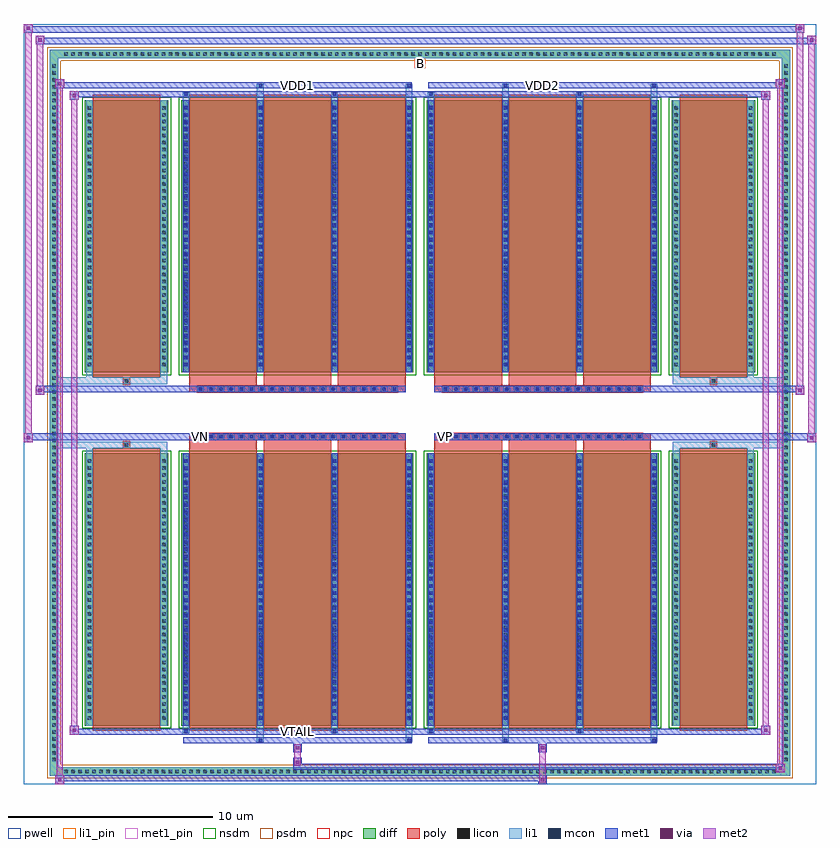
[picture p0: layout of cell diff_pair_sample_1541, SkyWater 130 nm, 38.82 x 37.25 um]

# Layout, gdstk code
import gdstk
lib = gdstk.Library(unit=1e-6, precision=5e-09)
def R(c, l, rs):  # rectangles x0, y0, x1, y1
    for r in rs: c.add(gdstk.rectangle(r[:2], r[2:], *l))
def A(c, l, x, y, w, h, nx, ny, dx, dy):  # array of equal rectangles
    R(c, l, [(x+i*dx, y+j*dy, x+i*dx+w, y+j*dy+h) for i in range(nx) for j in range(ny)])
def P(c, l, *ps):  # polygons
    for p in ps: c.add(gdstk.Polygon(p, *l))
pwell = (64, 44)
diff = (65, 20)
poly = (66, 20)
licon = (66, 44)
li1_pin = (67, 16)
li1 = (67, 20)
mcon = (67, 44)
met1_pin = (68, 16)
met1 = (68, 20)
via = (68, 44)
met2 = (69, 20)
nsdm = (93, 44)
psdm = (94, 20)
npc = (95, 20)

diff_pair_sample_1541 = lib.new_cell('diff_pair_sample_1541')
R(diff_pair_sample_1541, pwell, [(-19.41,-18.19,19.41,19.06), (-16.73,-16.38,-0.01,-0.8), (0.01,-16.38,16.73,-0.8), (-16.73,0.8,-0.01,16.38), (0.01,0.8,16.73,16.38)])
A(diff_pair_sample_1541, diff, -17.545, -17.79, 0.41, 0.41, 103, 2, 0.34, 35.17)
A(diff_pair_sample_1541, diff, -18.14, -17.205, 0.41, 0.41, 1, 101, 0, 0.34)
A(diff_pair_sample_1541, diff, 17.73, -17.205, 0.41, 0.41, 1, 101, 0, 0.34)
R(diff_pair_sample_1541, diff, [(-17.545,-17.79,17.545,-17.38), (-18.14,-17.205,-17.73,17.205), (17.73,-17.205,18.14,17.205), (-16.42,-15.335,-12.33,-1.985), (-11.69,-15.335,-0.32,-1.985), (0.32,-15.335,11.69,-1.985), (12.33,-15.335,16.42,-1.985), (-16.42,1.985,-12.33,15.335), (-11.69,1.985,-0.32,15.335), (0.32,1.985,11.69,15.335), (12.33,1.985,16.42,15.335), (-17.545,17.38,17.545,17.79)])
P(diff_pair_sample_1541, diff, [(18.14,17.79),(-18.14,17.79),(-18.14,-17.38),(-17.73,-17.38),(-17.73,17.38),(17.73,17.38),(17.73,-17.38),(-17.73,-17.38),(-18.14,-17.38),(-18.14,-17.79),(18.14,-17.79)])
A(diff_pair_sample_1541, poly, -11.3, -15.585, 3.31, 13.85, 3, 2, 3.64, 17.32)
A(diff_pair_sample_1541, poly, 0.71, -15.585, 3.31, 13.85, 3, 2, 3.64, 17.32)
A(diff_pair_sample_1541, poly, -11.3, -1.735, 3.31, 0.405, 3, 2, 3.64, 3.065)
A(diff_pair_sample_1541, poly, 0.71, -1.735, 3.31, 0.405, 3, 2, 3.64, 3.065)
A(diff_pair_sample_1541, poly, -10.92, -1.33, 0.33, 0.33, 20, 2, 0.5, 2.33)
A(diff_pair_sample_1541, poly, 1.09, -1.33, 0.33, 0.33, 20, 2, 0.5, 2.33)
R(diff_pair_sample_1541, poly, [(-16.03,-15.585,-12.72,-1.735), (12.72,-15.585,16.03,-1.735), (-14.54,-1.735,-14.21,-1.405), (-14.54,-1.735,-14.21,-1.405), (14.21,-1.735,14.54,-1.405), (14.21,-1.735,14.54,-1.405), (-11.3,-1.33,-0.71,-1), (0.71,-1.33,11.3,-1), (-11.3,1,-0.71,1.33), (0.71,1,11.3,1.33), (-14.54,1.405,-14.21,1.735), (-14.54,1.405,-14.21,1.735), (14.21,1.405,14.54,1.735), (14.21,1.405,14.54,1.735), (-16.03,1.735,-12.72,15.585), (12.72,1.735,16.03,15.585)])
A(diff_pair_sample_1541, licon, -17.425, -17.67, 0.17, 0.17, 103, 2, 0.34, 35.17)
A(diff_pair_sample_1541, licon, -18.02, -17.085, 0.17, 0.17, 1, 101, 0, 0.34)
A(diff_pair_sample_1541, licon, 17.85, -17.085, 0.17, 0.17, 1, 101, 0, 0.34)
A(diff_pair_sample_1541, licon, -16.28, -15.035, 0.17, 0.17, 1, 38, 0, 0.34)
A(diff_pair_sample_1541, licon, -12.64, -15.035, 0.17, 0.17, 1, 38, 0, 0.34)
A(diff_pair_sample_1541, licon, -11.55, -15.035, 0.17, 0.17, 4, 38, 3.64, 0.34)
A(diff_pair_sample_1541, licon, 0.46, -15.035, 0.17, 0.17, 4, 38, 3.64, 0.34)
A(diff_pair_sample_1541, licon, 12.47, -15.035, 0.17, 0.17, 1, 38, 0, 0.34)
A(diff_pair_sample_1541, licon, 16.11, -15.035, 0.17, 0.17, 1, 38, 0, 0.34)
A(diff_pair_sample_1541, licon, -10.84, -1.25, 0.17, 0.17, 20, 2, 0.5, 2.33)
A(diff_pair_sample_1541, licon, 1.17, -1.25, 0.17, 0.17, 20, 2, 0.5, 2.33)
A(diff_pair_sample_1541, licon, -16.28, 2.285, 0.17, 0.17, 1, 38, 0, 0.34)
A(diff_pair_sample_1541, licon, -12.64, 2.285, 0.17, 0.17, 1, 38, 0, 0.34)
A(diff_pair_sample_1541, licon, -11.55, 2.285, 0.17, 0.17, 4, 38, 3.64, 0.34)
A(diff_pair_sample_1541, licon, 0.46, 2.285, 0.17, 0.17, 4, 38, 3.64, 0.34)
A(diff_pair_sample_1541, licon, 12.47, 2.285, 0.17, 0.17, 1, 38, 0, 0.34)
A(diff_pair_sample_1541, licon, 16.11, 2.285, 0.17, 0.17, 1, 38, 0, 0.34)
R(diff_pair_sample_1541, licon, [(-14.46,-1.655,-14.29,-1.485), (14.29,-1.655,14.46,-1.485), (-14.46,1.485,-14.29,1.655), (14.29,1.485,14.46,1.655)])
R(diff_pair_sample_1541, li1_pin, [(-0.25,16.88,0.25,17.38)])
A(diff_pair_sample_1541, li1, -17.505, -17.75, 0.33, 0.33, 103, 2, 0.34, 35.17)
A(diff_pair_sample_1541, li1, -18.1, -17.165, 0.33, 0.33, 1, 101, 0, 0.34)
A(diff_pair_sample_1541, li1, 17.77, -17.165, 0.33, 0.33, 1, 101, 0, 0.34)
A(diff_pair_sample_1541, li1, -11.63, -15.335, 0.33, 13.35, 4, 2, 3.64, 17.32)
A(diff_pair_sample_1541, li1, 0.38, -15.335, 0.33, 13.35, 4, 2, 3.64, 17.32)
A(diff_pair_sample_1541, li1, -16.36, -15.115, 0.33, 0.33, 1, 38, 0, 0.34)
A(diff_pair_sample_1541, li1, -12.72, -15.115, 0.33, 0.33, 1, 38, 0, 0.34)
A(diff_pair_sample_1541, li1, -11.63, -15.115, 0.33, 0.33, 4, 38, 3.64, 0.34)
A(diff_pair_sample_1541, li1, 0.38, -15.115, 0.33, 0.33, 4, 38, 3.64, 0.34)
A(diff_pair_sample_1541, li1, 12.39, -15.115, 0.33, 0.33, 1, 38, 0, 0.34)
A(diff_pair_sample_1541, li1, 16.03, -15.115, 0.33, 0.33, 1, 38, 0, 0.34)
A(diff_pair_sample_1541, li1, -11.55, -15.045, 0.17, 0.17, 4, 36, 3.64, 0.36)
A(diff_pair_sample_1541, li1, -11.55, -15.045, 0.17, 12.77, 4, 2, 3.64, 17.32)
A(diff_pair_sample_1541, li1, 0.46, -15.045, 0.17, 0.17, 4, 36, 3.64, 0.36)
A(diff_pair_sample_1541, li1, 0.46, -15.045, 0.17, 12.77, 4, 2, 3.64, 17.32)
A(diff_pair_sample_1541, li1, -10.92, -1.33, 0.33, 0.33, 20, 2, 0.5, 2.33)
A(diff_pair_sample_1541, li1, 1.09, -1.33, 0.33, 0.33, 20, 2, 0.5, 2.33)
A(diff_pair_sample_1541, li1, -16.36, 2.205, 0.33, 0.33, 1, 38, 0, 0.34)
A(diff_pair_sample_1541, li1, -12.72, 2.205, 0.33, 0.33, 1, 38, 0, 0.34)
A(diff_pair_sample_1541, li1, -11.63, 2.205, 0.33, 0.33, 4, 38, 3.64, 0.34)
A(diff_pair_sample_1541, li1, 0.38, 2.205, 0.33, 0.33, 4, 38, 3.64, 0.34)
A(diff_pair_sample_1541, li1, 12.39, 2.205, 0.33, 0.33, 1, 38, 0, 0.34)
A(diff_pair_sample_1541, li1, 16.03, 2.205, 0.33, 0.33, 1, 38, 0, 0.34)
A(diff_pair_sample_1541, li1, -11.55, 2.275, 0.17, 0.17, 4, 36, 3.64, 0.36)
A(diff_pair_sample_1541, li1, 0.46, 2.275, 0.17, 0.17, 4, 36, 3.64, 0.36)
R(diff_pair_sample_1541, li1, [(-18.14,-17.79,-17.73,-17.38), (-18.14,-17.79,-17.73,-17.38), (-17.73,-17.79,17.73,-17.38), (17.73,-17.79,18.14,-17.38), (17.73,-17.79,18.14,-17.38), (-18.14,-17.38,-17.73,17.38), (17.73,-17.38,18.14,17.38), (-7.99,-16.14,-7.66,-15.335), (-7.91,-16.14,-7.74,-15.97), (-0.71,-16.14,-0.38,-15.335), (-0.63,-16.14,-0.46,-15.97), (4.02,-16.14,4.35,-15.335), (4.1,-16.14,4.27,-15.97), (11.3,-16.14,11.63,-15.335), (11.38,-16.14,11.55,-15.97), (-11.63,-15.71,-11.3,-15.335), (-11.55,-15.71,-11.38,-15.54), (-4.35,-15.71,-4.02,-15.335), (-4.27,-15.71,-4.1,-15.54), (0.38,-15.71,0.71,-15.335), (0.46,-15.71,0.63,-15.54), (7.66,-15.71,7.99,-15.335), (7.74,-15.71,7.91,-15.54), (-16.36,-15.335,-16.03,-1.985), (-12.72,-15.335,-12.39,-1.985), (12.39,-15.335,12.72,-1.985), (16.03,-15.335,16.36,-1.985), (-16.36,-1.985,-16.03,-1.405), (-12.72,-1.985,-12.39,-1.405), (12.39,-1.985,12.72,-1.405), (16.03,-1.985,16.36,-1.405), (-18.14,-1.735,-14.54,-1.405), (-16.36,-1.735,-14.54,-1.405), (-14.54,-1.735,-14.21,-1.405), (-14.21,-1.735,-12.39,-1.405), (12.39,-1.735,14.21,-1.405), (14.21,-1.735,14.54,-1.405), (14.21,-1.735,18.14,-1.405), (14.54,-1.735,16.36,-1.405), (-18.14,1.405,-14.54,1.735), (-16.36,1.405,-14.54,1.735), (-16.36,1.405,-16.03,1.985), (-14.54,1.405,-14.21,1.735), (-14.21,1.405,-12.39,1.735), (-12.72,1.405,-12.39,1.985), (12.39,1.405,14.21,1.735), (12.39,1.405,12.72,1.985), (14.21,1.405,14.54,1.735), (14.21,1.405,18.14,1.735), (14.54,1.405,16.36,1.735), (16.03,1.405,16.36,1.985), (-16.36,1.985,-16.03,15.335), (-12.72,1.985,-12.39,15.335), (12.39,1.985,12.72,15.335), (16.03,1.985,16.36,15.335), (-11.63,15.335,-11.3,15.71), (-7.99,15.335,-7.66,16.14), (-4.35,15.335,-4.02,15.71), (-0.71,15.335,-0.38,16.14), (0.38,15.335,0.71,15.71), (4.02,15.335,4.35,16.14), (7.66,15.335,7.99,15.71), (11.3,15.335,11.63,16.14), (-11.55,15.54,-11.38,15.71), (-4.27,15.54,-4.1,15.71), (0.46,15.54,0.63,15.71), (7.74,15.54,7.91,15.71), (-7.91,15.97,-7.74,16.14), (-0.63,15.97,-0.46,16.14), (4.1,15.97,4.27,16.14), (11.38,15.97,11.55,16.14), (-18.14,17.38,-17.73,17.79), (-18.14,17.38,-17.73,17.79), (-17.73,17.38,17.73,17.79), (17.73,17.38,18.14,17.79), (17.73,17.38,18.14,17.79)])
A(diff_pair_sample_1541, mcon, -11.55, -15.045, 0.17, 0.17, 4, 36, 3.64, 0.36)
A(diff_pair_sample_1541, mcon, 0.46, -15.045, 0.17, 0.17, 4, 36, 3.64, 0.36)
A(diff_pair_sample_1541, mcon, -10.84, -1.25, 0.17, 0.17, 20, 2, 0.5, 2.33)
A(diff_pair_sample_1541, mcon, 1.17, -1.25, 0.17, 0.17, 20, 2, 0.5, 2.33)
A(diff_pair_sample_1541, mcon, -11.55, 2.275, 0.17, 0.17, 4, 36, 3.64, 0.36)
A(diff_pair_sample_1541, mcon, 0.46, 2.275, 0.17, 0.17, 4, 36, 3.64, 0.36)
R(diff_pair_sample_1541, mcon, [(-7.91,-16.14,-7.74,-15.97), (-0.63,-16.14,-0.46,-15.97), (4.1,-16.14,4.27,-15.97), (11.38,-16.14,11.55,-15.97), (-11.55,-15.71,-11.38,-15.54), (-4.27,-15.71,-4.1,-15.54), (0.46,-15.71,0.63,-15.54), (7.74,-15.71,7.91,-15.54), (-11.55,15.54,-11.38,15.71), (-4.27,15.54,-4.1,15.71), (0.46,15.54,0.63,15.71), (7.74,15.54,7.91,15.71), (-7.91,15.97,-7.74,16.14), (-0.63,15.97,-0.46,16.14), (4.1,15.97,4.27,16.14), (11.38,15.97,11.55,16.14)])
R(diff_pair_sample_1541, met1_pin, [(-6.14,-15.75,-5.87,-15.48), (-10.89,-1.29,-10.62,-1.02), (1.12,-1.29,1.39,-1.02), (-6.14,15.93,-5.87,16.2), (5.87,15.93,6.14,16.2)])
A(diff_pair_sample_1541, met1, -11.61, -15.335, 0.29, 13.35, 4, 2, 3.64, 17.32)
A(diff_pair_sample_1541, met1, 0.4, -15.335, 0.29, 13.35, 4, 2, 3.64, 17.32)
A(diff_pair_sample_1541, met1, -11.61, -15.105, 0.29, 0.29, 4, 36, 3.64, 0.36)
A(diff_pair_sample_1541, met1, 0.4, -15.105, 0.29, 0.29, 4, 36, 3.64, 0.36)
A(diff_pair_sample_1541, met1, -10.9, -1.31, 0.29, 0.29, 20, 2, 0.5, 2.33)
A(diff_pair_sample_1541, met1, 1.11, -1.31, 0.29, 0.29, 20, 2, 0.5, 2.33)
A(diff_pair_sample_1541, met1, -11.61, 2.215, 0.29, 0.29, 4, 36, 3.64, 0.36)
A(diff_pair_sample_1541, met1, 0.4, 2.215, 0.29, 0.29, 4, 36, 3.64, 0.36)
R(diff_pair_sample_1541, met1, [(-17.87,-18.19,-17.44,-17.76), (5.79,-18.19,6.22,-17.76), (-17.87,-18.05,6.22,-17.76), (17.44,-17.62,17.87,-17.19), (-6.22,-17.48,17.87,-17.19), (-6.22,-17.34,-5.79,-16.91), (-6.22,-16.63,-5.79,-16.2), (5.79,-16.63,6.22,-16.2), (-11.61,-16.2,-0.4,-15.91), (-7.97,-16.2,-7.68,-15.91), (-0.69,-16.2,-0.4,-15.91), (0.4,-16.2,11.61,-15.91), (4.04,-16.2,4.33,-15.91), (11.32,-16.2,11.61,-15.91), (-17.16,-15.77,-16.73,-15.34), (-17.16,-15.77,-11.61,-15.48), (-11.61,-15.77,-11.32,-15.48), (-11.61,-15.77,-0.4,-15.48), (-4.33,-15.77,-4.04,-15.48), (-0.4,-15.77,0.4,-15.48), (0.4,-15.77,0.69,-15.48), (0.4,-15.77,11.61,-15.48), (7.68,-15.77,7.97,-15.48), (11.61,-15.77,17.16,-15.48), (16.73,-15.77,17.16,-15.34), (-19.41,-1.43,-18.98,-1), (18.98,-1.43,19.41,-1), (-19.41,-1.33,-0.71,-1), (-11.3,-1.33,-0.71,-1), (0.71,-1.33,11.3,-1), (0.71,-1.33,19.41,-1), (-18.84,0.9,-18.41,1.33), (18.41,0.9,18.84,1.33), (-18.84,1,-11.3,1.33), (-11.3,1,-0.71,1.33), (0.71,1,11.3,1.33), (11.3,1,18.84,1.33), (-17.16,15.34,-16.73,15.77), (16.73,15.34,17.16,15.77), (-17.16,15.48,-11.61,15.77), (-11.61,15.48,-11.32,15.77), (-11.61,15.48,-0.4,15.77), (-4.33,15.48,-4.04,15.77), (-0.4,15.48,0.4,15.77), (0.4,15.48,0.69,15.77), (0.4,15.48,11.61,15.77), (7.68,15.48,7.97,15.77), (11.61,15.48,17.16,15.77), (-17.87,15.91,-17.44,16.34), (-17.87,15.91,-11.61,16.2), (-11.61,15.91,-0.4,16.2), (-7.97,15.91,-7.68,16.2), (-0.69,15.91,-0.4,16.2), (0.4,15.91,11.61,16.2), (4.04,15.91,4.33,16.2), (11.32,15.91,11.61,16.2), (11.61,15.91,17.87,16.2), (17.44,15.91,17.87,16.34), (-18.84,18.06,-18.41,18.49), (-18.84,18.06,-16.73,18.39), (-16.73,18.06,16.73,18.39), (16.73,18.06,19.41,18.39), (18.98,18.06,19.41,18.49), (-19.41,18.63,-18.98,19.06), (-19.41,18.63,-16.73,18.96), (-16.73,18.63,16.73,18.96), (16.73,18.63,18.84,18.96), (18.41,18.63,18.84,19.06)])
R(diff_pair_sample_1541, via, [(-17.73,-18.05,-17.58,-17.9), (5.93,-18.05,6.08,-17.9), (17.58,-17.48,17.73,-17.33), (-6.08,-17.2,-5.93,-17.05), (-6.08,-16.49,-5.93,-16.34), (5.93,-16.49,6.08,-16.34), (-17.02,-15.63,-16.87,-15.48), (16.87,-15.63,17.02,-15.48), (-19.27,-1.29,-19.12,-1.14), (19.12,-1.29,19.27,-1.14), (-18.7,1.04,-18.55,1.19), (18.55,1.04,18.7,1.19), (-17.02,15.48,-16.87,15.63), (16.87,15.48,17.02,15.63), (-17.73,16.05,-17.58,16.2), (17.58,16.05,17.73,16.2), (-18.7,18.2,-18.55,18.35), (19.12,18.2,19.27,18.35), (-19.27,18.77,-19.12,18.92), (18.55,18.77,18.7,18.92)])
R(diff_pair_sample_1541, met2, [(-17.87,-18.19,-17.44,-17.76), (-17.8,-18.19,-17.51,16.34), (-17.51,-18.19,-17.44,-17.76), (-17.82,-18.14,-17.49,-17.81), (5.84,-18.14,6.17,-17.81), (5.84,-17.81,6.17,-16.58), (17.44,-17.62,17.87,-17.19), (17.51,-17.62,17.8,16.34), (17.8,-17.62,17.87,-17.19), (17.49,-17.57,17.82,-17.24), (-6.17,-17.29,-5.84,-16.96), (-6.17,-16.96,-5.84,-16.58), (-6.17,-16.58,-5.84,-16.25), (5.84,-16.58,6.17,-16.25), (-17.16,-15.77,-16.73,-15.34), (-17.09,-15.77,-16.8,15.77), (-16.8,-15.77,-16.73,-15.34), (16.73,-15.77,17.16,-15.34), (16.8,-15.77,17.09,15.77), (17.09,-15.77,17.16,-15.34), (-17.11,-15.72,-16.78,-15.39), (16.78,-15.72,17.11,-15.39), (-19.41,-1.43,-18.98,-1), (-19.36,-1.43,-19.03,19.06), (-19.03,-1.43,-18.98,-1), (18.98,-1.43,19.41,-1), (19.03,-1.43,19.36,18.49), (19.36,-1.43,19.41,-1), (-19.36,-1.38,-19.03,-1.05), (19.03,-1.38,19.36,-1.05), (-18.84,0.9,-18.41,1.33), (-18.79,0.9,-18.46,18.49), (-18.46,0.9,-18.41,1.33), (18.41,0.9,18.84,1.33), (18.46,0.9,18.79,19.06), (18.79,0.9,18.84,1.33), (-18.79,0.95,-18.46,1.28), (18.46,0.95,18.79,1.28), (-17.16,15.34,-16.73,15.77), (-16.8,15.34,-16.73,15.77), (16.73,15.34,17.16,15.77), (17.09,15.34,17.16,15.77), (-17.11,15.39,-16.78,15.72), (16.78,15.39,17.11,15.72), (-17.87,15.91,-17.44,16.34), (-17.51,15.91,-17.44,16.34), (17.44,15.91,17.87,16.34), (17.8,15.91,17.87,16.34), (-17.82,15.96,-17.49,16.29), (17.49,15.96,17.82,16.29), (-18.84,18.06,-18.41,18.49), (-18.46,18.06,-18.41,18.49), (18.98,18.06,19.41,18.49), (19.36,18.06,19.41,18.49), (-18.79,18.11,-18.46,18.44), (19.03,18.11,19.36,18.44), (-19.41,18.63,-18.98,19.06), (-19.03,18.63,-18.98,19.06), (18.41,18.63,18.84,19.06), (18.79,18.63,18.84,19.06), (-19.36,18.68,-19.03,19.01), (18.46,18.68,18.79,19.01)])
R(diff_pair_sample_1541, nsdm, [(-16.55,-15.465,-12.2,-1.855), (-11.82,-15.465,-0.19,-1.855), (0.19,-15.465,11.82,-1.855), (12.2,-15.465,16.55,-1.855), (-16.55,1.855,-12.2,15.465), (-11.82,1.855,-0.19,15.465), (0.19,1.855,11.82,15.465), (12.2,1.855,16.55,15.465)])
P(diff_pair_sample_1541, psdm, [(18.27,17.92),(-18.27,17.92),(-18.27,-17.25),(-17.6,-17.25),(-17.6,17.25),(17.6,17.25),(17.6,-17.25),(-17.6,-17.25),(-18.27,-17.25),(-18.27,-17.92),(18.27,-17.92)])
A(diff_pair_sample_1541, npc, -10.94, -1.35, 0.37, 0.37, 20, 2, 0.5, 2.33)
A(diff_pair_sample_1541, npc, 1.07, -1.35, 0.37, 0.37, 20, 2, 0.5, 2.33)
R(diff_pair_sample_1541, npc, [(-14.56,-1.755,-14.19,-1.385), (14.19,-1.755,14.56,-1.385), (-10.94,-1.35,-10.07,-0.98), (-10.94,-1.35,-10.07,-0.98), (-10.44,-1.35,-9.57,-0.98), (-10.44,-1.35,-9.57,-0.98), (-9.94,-1.35,-9.07,-0.98), (-9.94,-1.35,-9.07,-0.98), (-9.44,-1.35,-8.57,-0.98), (-9.44,-1.35,-8.57,-0.98), (-8.94,-1.35,-8.07,-0.98), (-8.94,-1.35,-8.07,-0.98), (-8.44,-1.35,-7.57,-0.98), (-8.44,-1.35,-7.57,-0.98), (-7.94,-1.35,-7.07,-0.98), (-7.94,-1.35,-7.07,-0.98), (-7.44,-1.35,-6.57,-0.98), (-7.44,-1.35,-6.57,-0.98), (-6.94,-1.35,-6.07,-0.98), (-6.94,-1.35,-6.07,-0.98), (-6.44,-1.35,-5.57,-0.98), (-6.44,-1.35,-5.57,-0.98), (-5.94,-1.35,-5.07,-0.98), (-5.94,-1.35,-5.07,-0.98), (-5.44,-1.35,-4.57,-0.98), (-5.44,-1.35,-4.57,-0.98), (-4.94,-1.35,-4.07,-0.98), (-4.94,-1.35,-4.07,-0.98), (-4.44,-1.35,-3.57,-0.98), (-4.44,-1.35,-3.57,-0.98), (-3.94,-1.35,-3.07,-0.98), (-3.94,-1.35,-3.07,-0.98), (-3.44,-1.35,-2.57,-0.98), (-3.44,-1.35,-2.57,-0.98), (-2.94,-1.35,-2.07,-0.98), (-2.94,-1.35,-2.07,-0.98), (-2.44,-1.35,-1.57,-0.98), (-2.44,-1.35,-1.57,-0.98), (-1.94,-1.35,-1.07,-0.98), (-1.94,-1.35,-1.07,-0.98), (1.07,-1.35,1.94,-0.98), (1.07,-1.35,1.94,-0.98), (1.57,-1.35,2.44,-0.98), (1.57,-1.35,2.44,-0.98), (2.07,-1.35,2.94,-0.98), (2.07,-1.35,2.94,-0.98), (2.57,-1.35,3.44,-0.98), (2.57,-1.35,3.44,-0.98), (3.07,-1.35,3.94,-0.98), (3.07,-1.35,3.94,-0.98), (3.57,-1.35,4.44,-0.98), (3.57,-1.35,4.44,-0.98), (4.07,-1.35,4.94,-0.98), (4.07,-1.35,4.94,-0.98), (4.57,-1.35,5.44,-0.98), (4.57,-1.35,5.44,-0.98), (5.07,-1.35,5.94,-0.98), (5.07,-1.35,5.94,-0.98), (5.57,-1.35,6.44,-0.98), (5.57,-1.35,6.44,-0.98), (6.07,-1.35,6.94,-0.98), (6.07,-1.35,6.94,-0.98), (6.57,-1.35,7.44,-0.98), (6.57,-1.35,7.44,-0.98), (7.07,-1.35,7.94,-0.98), (7.07,-1.35,7.94,-0.98), (7.57,-1.35,8.44,-0.98), (7.57,-1.35,8.44,-0.98), (8.07,-1.35,8.94,-0.98), (8.07,-1.35,8.94,-0.98), (8.57,-1.35,9.44,-0.98), (8.57,-1.35,9.44,-0.98), (9.07,-1.35,9.94,-0.98), (9.07,-1.35,9.94,-0.98), (9.57,-1.35,10.44,-0.98), (9.57,-1.35,10.44,-0.98), (10.07,-1.35,10.94,-0.98), (10.07,-1.35,10.94,-0.98), (-10.94,0.98,-10.07,1.35), (-10.94,0.98,-10.07,1.35), (-10.44,0.98,-9.57,1.35), (-10.44,0.98,-9.57,1.35), (-9.94,0.98,-9.07,1.35), (-9.94,0.98,-9.07,1.35), (-9.44,0.98,-8.57,1.35), (-9.44,0.98,-8.57,1.35), (-8.94,0.98,-8.07,1.35), (-8.94,0.98,-8.07,1.35), (-8.44,0.98,-7.57,1.35), (-8.44,0.98,-7.57,1.35), (-7.94,0.98,-7.07,1.35), (-7.94,0.98,-7.07,1.35), (-7.44,0.98,-6.57,1.35), (-7.44,0.98,-6.57,1.35), (-6.94,0.98,-6.07,1.35), (-6.94,0.98,-6.07,1.35), (-6.44,0.98,-5.57,1.35), (-6.44,0.98,-5.57,1.35), (-5.94,0.98,-5.07,1.35), (-5.94,0.98,-5.07,1.35), (-5.44,0.98,-4.57,1.35), (-5.44,0.98,-4.57,1.35), (-4.94,0.98,-4.07,1.35), (-4.94,0.98,-4.07,1.35), (-4.44,0.98,-3.57,1.35), (-4.44,0.98,-3.57,1.35), (-3.94,0.98,-3.07,1.35), (-3.94,0.98,-3.07,1.35), (-3.44,0.98,-2.57,1.35), (-3.44,0.98,-2.57,1.35), (-2.94,0.98,-2.07,1.35), (-2.94,0.98,-2.07,1.35), (-2.44,0.98,-1.57,1.35), (-2.44,0.98,-1.57,1.35), (-1.94,0.98,-1.07,1.35), (-1.94,0.98,-1.07,1.35), (1.07,0.98,1.94,1.35), (1.07,0.98,1.94,1.35), (1.57,0.98,2.44,1.35), (1.57,0.98,2.44,1.35), (2.07,0.98,2.94,1.35), (2.07,0.98,2.94,1.35), (2.57,0.98,3.44,1.35), (2.57,0.98,3.44,1.35), (3.07,0.98,3.94,1.35), (3.07,0.98,3.94,1.35), (3.57,0.98,4.44,1.35), (3.57,0.98,4.44,1.35), (4.07,0.98,4.94,1.35), (4.07,0.98,4.94,1.35), (4.57,0.98,5.44,1.35), (4.57,0.98,5.44,1.35), (5.07,0.98,5.94,1.35), (5.07,0.98,5.94,1.35), (5.57,0.98,6.44,1.35), (5.57,0.98,6.44,1.35), (6.07,0.98,6.94,1.35), (6.07,0.98,6.94,1.35), (6.57,0.98,7.44,1.35), (6.57,0.98,7.44,1.35), (7.07,0.98,7.94,1.35), (7.07,0.98,7.94,1.35), (7.57,0.98,8.44,1.35), (7.57,0.98,8.44,1.35), (8.07,0.98,8.94,1.35), (8.07,0.98,8.94,1.35), (8.57,0.98,9.44,1.35), (8.57,0.98,9.44,1.35), (9.07,0.98,9.94,1.35), (9.07,0.98,9.94,1.35), (9.57,0.98,10.44,1.35), (9.57,0.98,10.44,1.35), (10.07,0.98,10.94,1.35), (10.07,0.98,10.94,1.35), (-14.56,1.385,-14.19,1.755), (14.19,1.385,14.56,1.755)])
diff_pair_sample_1541.add(gdstk.Label('VTAIL', (-6.005,-15.615), layer=68, texttype=5))
diff_pair_sample_1541.add(gdstk.Label('VN', (-10.755,-1.155), layer=68, texttype=5))
diff_pair_sample_1541.add(gdstk.Label('VP', (1.255,-1.155), layer=68, texttype=5))
diff_pair_sample_1541.add(gdstk.Label('B', (0,17.13), layer=67, texttype=5))
diff_pair_sample_1541.add(gdstk.Label('VDD2', (6.005,16.065), layer=68, texttype=5))
diff_pair_sample_1541.add(gdstk.Label('VDD1', (-6.005,16.065), layer=68, texttype=5))

lib.write_gds('diff_pair_sample_1541.gds')
